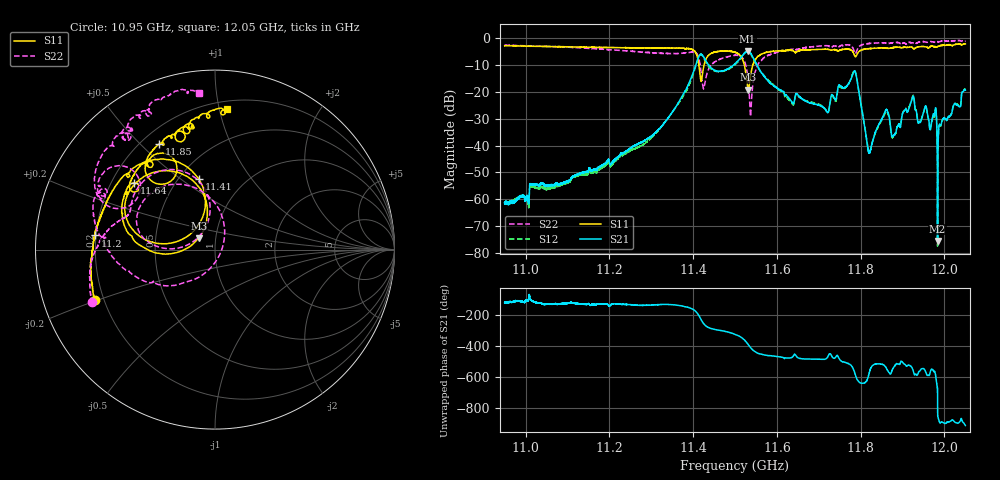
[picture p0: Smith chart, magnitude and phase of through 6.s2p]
!Agilent Technologies,E8362C,MY49020356,A.09.42.23
!Agilent E8362C: A.09.42.23
!Date: Saturday, September 11, 2021 04:10:02
!Correction: S11(Full 2 Port(1,2))
!S21(Full 2 Port(1,2))
!S12(Full 2 Port(1,2))
!S22(Full 2 Port(1,2))
!S2P File: Measurements: S11, S21, S12, S22:
# Hz S  MA  R 50
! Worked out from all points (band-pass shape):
!   32001 points, 10.95 GHz to 12.05 GHz, reference 50 ohm
!   highest |S21| = -4.79 dB at 11.53 GHz (marker M1); lowest = -75.5 dB at 11.98 GHz (marker M2)
!   |S21| within 3 dB of the highest: 11.41107 GHz to 11.42827 GHz (17.21 MHz wide, 0.151 % of centre); 11.51073 GHz to 11.54519 GHz (34.46 MHz wide, 0.299 % of centre)
!   lowest |S11| = -19.1 dB at 11.53 GHz (marker M3), VSWR 1.25, Z = 41.4 + j5.29 ohm
!   |S11| at or under -10 dB: 11.41388 GHz to 11.42611 GHz (12.23 MHz wide, 0.107 % of centre); 11.52233 GHz to 11.54254 GHz (20.21 MHz wide, 0.175 % of centre)
!   |S22| runs from -29.1 to -0.8 dB; largest |S21 - S12| = 0.027
!   S11 on the Smith chart (normalised r, x): 10.95 GHz: 0.16, -0.20; 11.2 GHz: 0.20, +0.06; 11.41 GHz: 0.62, +0.59; 11.64 GHz: 0.29, +0.33; 11.85 GHz: 0.27, +0.57; 12.05 GHz: 0.26, +1.05
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1.095e10  0.7266 -157.3  0.000869 -118.0  0.0008389 -121.1  0.7444 -157.0
1.113336e10  0.6833 -178.6  0.003089 -126.7  0.00291 -132.8  0.6609 179.4
1.119898e10  0.6741 173.3  0.005357 -139.0  0.004964 -139.9  0.6145 170.9
1.131668e10  0.6606 157.1  0.01952 -131.2  0.01898 -126.9  0.5288 159.6
1.141162e10  0.4034 103.0  0.4185 167.6  0.4171 170.6  0.4742 112.8
1.142596e10  0.3127 173.9  0.4379 102.7  0.4142 102.2  0.1197 150.7
1.15e10  0.5498 128.8  0.3344 36.8  0.3201 38.6  0.4809 151.3
1.153015e10  0.1247 121.2  0.576 -24.8  0.5768 -25.3  0.2063 81.2
1.153193e10  0.1108 145.2  0.5716 -31.4  0.5687 -32.1  0.1554 71.6
1.153884e10  0.2415 -174.8  0.5064 -55.1  0.4841 -55.3  0.0586 -80.9
1.155796e10  0.4742 170.4  0.2623 -89.4  0.2619 -85.9  0.3592 -146.5
1.16387e10  0.5838 140.6  0.0605 -106.7  0.0571 -104.6  0.6221 174.7
1.168336e10  0.6143 137.5  0.06117 -124.2  0.06384 -123.3  0.6932 166.0
1.172038e10  0.6258 130.0  0.04189 -114.5  0.04107 -117.3  0.7278 155.2
1.178473e10  0.4906 115.5  0.2445 155.9  0.252 156.8  0.564 137.8
1.181969e10  0.6431 124.9  0.00741 137.4  0.007509 134.7  0.8003 146.1
1.185272e10  0.6649 117.9  0.03416 -159.9  0.03182 -161.2  0.8263 137.1
1.186668e10  0.6503 116.3  0.03828 152.0  0.03602 153.3  0.8036 134.7
1.187909e10  0.6752 115.0  0.01545 -176.8  0.01506 -173.8  0.8332 132.8
1.192357e10  0.6708 104.9  0.07817 175.2  0.0811 173.7  0.8258 125.0
1.198355e10  0.6969 101.9  0.0001672 -2.4  0.0001331 -17.4  0.8665 116.1
1.205e10  0.7862 85.2  0.1088 164.8  0.1105 162.2  0.872 95.7
